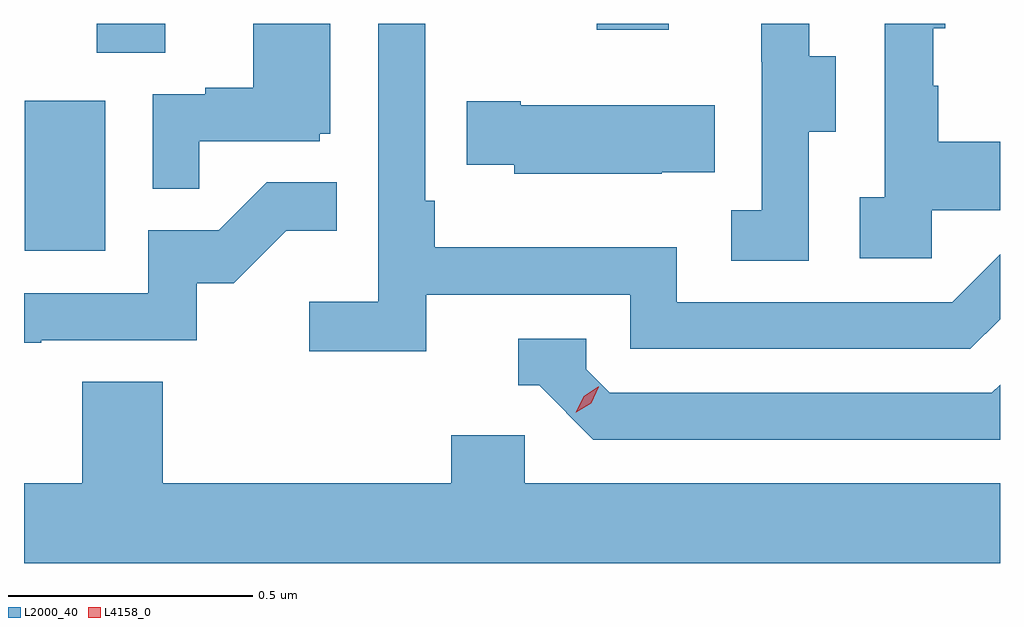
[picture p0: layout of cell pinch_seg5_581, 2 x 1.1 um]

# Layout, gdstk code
import gdstk
lib = gdstk.Library(unit=1e-6, precision=1e-09)
def R(c, l, rs):  # rectangles x0, y0, x1, y1
    for r in rs: c.add(gdstk.rectangle(r[:2], r[2:], *l))
def P(c, l, *ps):  # polygons
    for p in ps: c.add(gdstk.Polygon(p, *l))
L2000_40 = (2000, 40)
L4158_0 = (4158, 0)

pinch_seg5_581 = lib.new_cell('pinch_seg5_581')
R(pinch_seg5_581, L2000_40, [(1079.072,866.724,1079.236,867.031), (1079.219,867.13,1079.359,867.189), (1080.244,867.177,1080.391,867.189)])
P(pinch_seg5_581, L2000_40, [(1080.93,866.807),(1081.07,866.807),(1081.07,866.947),(1080.943,866.947),(1080.943,867.062),(1080.933,867.062),(1080.933,867.18),(1080.958,867.18),(1080.958,867.189),(1080.834,867.189),(1080.834,866.834),(1080.783,866.834),(1080.783,866.709),(1080.93,866.709)],
  [(1080.678,866.968),(1080.733,866.968),(1080.733,867.123),(1080.679,867.123),(1080.679,867.189),(1080.581,867.189),(1080.581,867.111),(1080.582,867.111),(1080.582,866.807),(1080.519,866.807),(1080.519,866.704),(1080.678,866.704)],
  [(1079.429,866.949),(1079.676,866.949),(1079.676,866.964),(1079.698,866.964),(1079.698,867.189),(1079.54,867.189),(1079.54,867.058),(1079.441,867.058),(1079.441,867.045),(1079.334,867.045),(1079.334,866.851),(1079.429,866.851)],
  [(1079.894,866.634),(1080.312,866.634),(1080.312,866.523),(1081.009,866.523),(1081.07,866.584),(1081.07,866.717),(1080.972,866.619),(1080.408,866.619),(1080.408,866.731),(1079.912,866.731),(1079.912,866.827),(1079.892,866.827),(1079.892,867.189),(1079.796,867.189),(1079.796,866.62),(1079.655,866.62),(1079.655,866.518),(1079.894,866.518)],
  [(1080.377,866.885),(1080.485,866.885),(1080.485,867.022),(1080.088,867.022),(1080.088,867.03),(1079.977,867.03),(1079.977,866.9),(1080.075,866.9),(1080.075,866.882),(1080.377,866.882)],
  [(1079.105,866.541),(1079.424,866.541),(1079.424,866.658),(1079.5,866.658),(1079.607,866.765),(1079.711,866.765),(1079.711,866.864),(1079.567,866.864),(1079.469,866.766),(1079.325,866.766),(1079.325,866.637),(1079.07,866.637),(1079.07,866.536),(1079.105,866.536)],
  [(1081.07,866.45),(1081.053,866.433),(1080.27,866.433),(1080.222,866.481),(1080.222,866.544),(1080.083,866.544),(1080.083,866.448),(1080.126,866.448),(1080.237,866.337),(1081.07,866.337)],
  [(1081.07,866.248),(1080.096,866.248),(1080.096,866.346),(1079.945,866.346),(1079.945,866.248),(1079.354,866.248),(1079.354,866.456),(1079.189,866.456),(1079.189,866.248),(1079.07,866.248),(1079.07,866.084),(1081.07,866.084)])
P(pinch_seg5_581, L4158_0, [(1080.201,866.393),(1080.201,866.393),(1080.217,866.426),(1080.247,866.445),(1080.248,866.445),(1080.248,866.445),(1080.232,866.412),(1080.202,866.393)])

lib.write_gds('pinch_seg5_581.gds')
